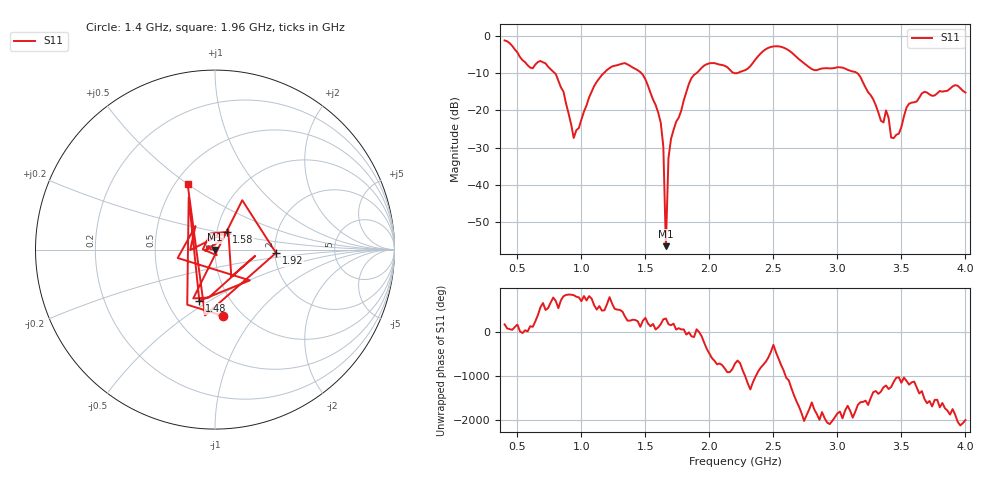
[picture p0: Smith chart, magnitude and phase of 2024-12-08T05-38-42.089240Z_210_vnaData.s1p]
!Created with skrf (http://scikit-rf.org).
# Hz S RI R 50.0
!freq ReS11 ImS11
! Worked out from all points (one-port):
!   181 points, 400 MHz to 4 GHz, reference 50 ohm
!   lowest |S11| = -56.5 dB at 1.66 GHz (marker M1), VSWR 1.00, Z = 50.1 - j0.123 ohm
!   |S11| at or under -10 dB: 790.2 MHz to 1.177 GHz (386.5 MHz wide, 39.3 % of centre); 1.466 GHz to 1.902 GHz (435.3 MHz wide, 25.9 % of centre); 3.152 GHz to end of sweep (the widest 3 of 4)
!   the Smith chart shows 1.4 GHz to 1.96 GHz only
!   S11 on the Smith chart (normalised r, x): 1.4 GHz: 0.82, -0.71; 1.48 GHz: 0.72, -0.45; 1.58 GHz: 1.11, +0.22; 1.92 GHz: 2.03, -0.08; 1.96 GHz: 0.57, +0.50
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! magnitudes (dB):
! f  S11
! 400 MHz  -1.3
! 600 MHz  -8.6
! 720 MHz  -7.5
! 860 MHz  -15.0
! 940 MHz  -27.5
! 1.12 GHz  -12.4
! 1.3 GHz  -7.7
! 1.4 GHz  -8.5
! 1.48 GHz  -10.5
! 1.58 GHz  -18.6
! 1.64 GHz  -29.7
! 1.66 GHz  -56.5
! 1.68 GHz  -32.9
! 1.76 GHz  -22.0
! 1.84 GHz  -12.9
! 1.92 GHz  -9.4
! 1.96 GHz  -8.0
! 2.2 GHz  -10.1
! 2.48 GHz  -3.0
! 2.66 GHz  -5.1
! 3.1 GHz  -9.4
! 3.18 GHz  -11.1
! 3.34 GHz  -22.8
! 3.38 GHz  -20.0
! 3.42 GHz  -27.3
! 3.48 GHz  -26.3
! 3.56 GHz  -18.3
! 4 GHz  -15.3
